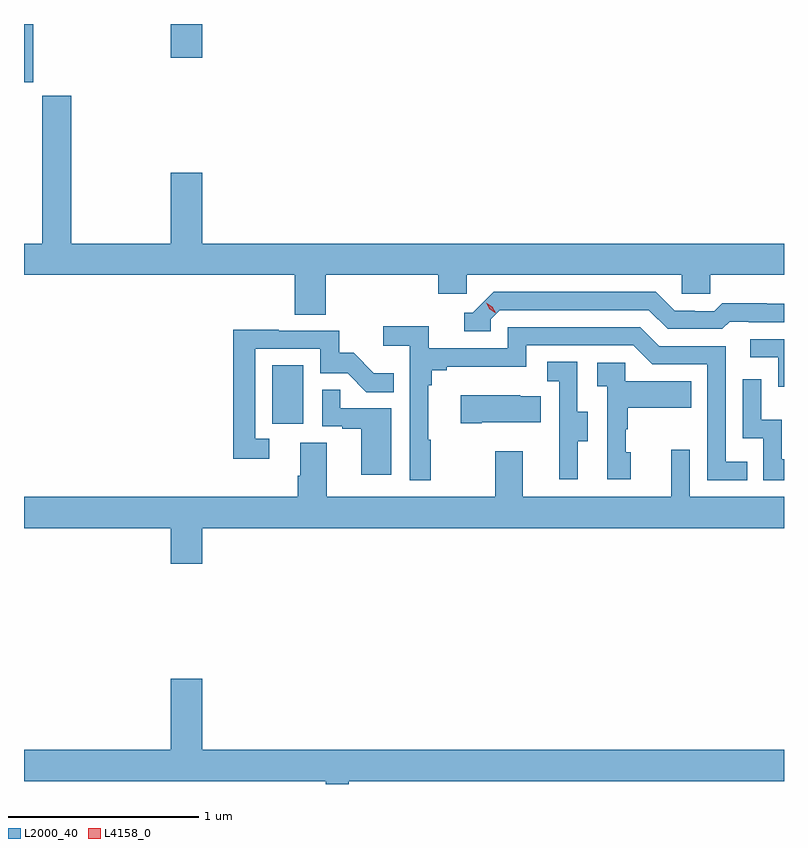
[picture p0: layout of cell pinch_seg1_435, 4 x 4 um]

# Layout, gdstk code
import gdstk
lib = gdstk.Library(unit=1e-6, precision=1e-09)
def R(c, l, rs):  # rectangles x0, y0, x1, y1
    for r in rs: c.add(gdstk.rectangle(r[:2], r[2:], *l))
def P(c, l, *ps):  # polygons
    for p in ps: c.add(gdstk.Polygon(p, *l))
L2000_40 = (2000, 40)
L4158_0 = (4158, 0)

pinch_seg1_435 = lib.new_cell('pinch_seg1_435')
R(pinch_seg1_435, L2000_40, [(956.75,513.654,956.914,513.961), (955.443,515.451,955.492,515.757), (956.216,515.58,956.38,515.757)])
P(pinch_seg1_435, L2000_40, [(957.032,514.436),(957.623,514.436),(957.623,514.338),(957.774,514.338),(957.774,514.436),(958.905,514.436),(958.905,514.338),(959.055,514.338),(959.055,514.436),(959.443,514.436),(959.443,514.6),(956.38,514.6),(956.38,514.975),(956.216,514.975),(956.216,514.6),(955.691,514.6),(955.691,515.379),(955.538,515.379),(955.538,514.6),(955.443,514.6),(955.443,514.436),(956.867,514.436),(956.867,514.228),(957.032,514.228)],
  [(957.9,514.203),(957.948,514.251),(958.731,514.251),(958.83,514.152),(959.119,514.152),(959.158,514.191),(959.257,514.191),(959.257,514.188),(959.443,514.188),(959.443,514.285),(959.352,514.285),(959.352,514.288),(959.119,514.288),(959.077,514.245),(958.974,514.245),(958.974,514.248),(958.867,514.248),(958.768,514.347),(957.915,514.347),(957.804,514.236),(957.761,514.236),(957.761,514.14),(957.9,514.14)],
  [(957.583,513.569),(957.571,513.569),(957.571,513.857),(957.59,513.857),(957.59,513.934),(957.667,513.934),(957.667,513.953),(958.086,513.953),(958.086,514.065),(958.65,514.065),(958.749,513.966),(959.04,513.966),(959.04,513.357),(959.249,513.357),(959.249,513.453),(959.136,513.453),(959.136,514.062),(958.786,514.062),(958.687,514.161),(957.99,514.161),(957.99,514.05),(957.572,514.05),(957.572,514.166),(957.333,514.166),(957.333,514.064),(957.474,514.064),(957.474,513.357),(957.583,513.357)],
  [(956.734,513.573),(956.661,513.573),(956.661,514.047),(957.003,514.047),(957.003,513.918),(957.147,513.918),(957.245,513.82),(957.389,513.82),(957.389,513.919),(957.285,513.919),(957.178,514.026),(957.102,514.026),(957.102,514.143),(956.783,514.143),(956.783,514.148),(956.545,514.148),(956.545,513.468),(956.734,513.468)],
  [(959.443,514.098),(959.265,514.098),(959.265,514.002),(959.412,514.002),(959.412,513.849),(959.443,513.849)],
  [(958.357,513.562),(958.411,513.562),(958.411,513.717),(958.356,513.717),(958.356,513.98),(958.197,513.98),(958.197,513.877),(958.26,513.877),(958.26,513.573),(958.259,513.573),(958.259,513.36),(958.357,513.36)],
  [(958.636,513.504),(958.611,513.504),(958.611,513.623),(958.621,513.623),(958.621,513.737),(958.955,513.737),(958.955,513.877),(958.608,513.877),(958.608,513.975),(958.461,513.975),(958.461,513.851),(958.512,513.851),(958.512,513.36),(958.636,513.36)],
  [(959.443,513.466),(959.432,513.466),(959.432,513.674),(959.322,513.674),(959.322,513.886),(959.226,513.886),(959.226,513.576),(959.334,513.576),(959.334,513.357),(959.443,513.357)],
  [(957.376,513.735),(957.107,513.735),(957.107,513.833),(957.012,513.833),(957.012,513.639),(957.119,513.639),(957.119,513.627),(957.218,513.627),(957.218,513.384),(957.376,513.384)],
  [(957.853,513.662),(958.163,513.662),(958.163,513.799),(958.055,513.799),(958.055,513.802),(957.741,513.802),(957.741,513.655),(957.853,513.655)],
  [(956.38,513.104),(959.443,513.104),(959.443,513.268),(958.947,513.268),(958.947,513.517),(958.85,513.517),(958.85,513.268),(958.069,513.268),(958.069,513.508),(957.922,513.508),(957.922,513.268),(957.037,513.268),(957.037,513.554),(956.897,513.554),(956.897,513.38),(956.885,513.38),(956.885,513.268),(955.443,513.268),(955.443,513.104),(956.216,513.104),(956.216,512.916),(956.38,512.916)],
  [(957.151,511.772),(959.443,511.772),(959.443,511.936),(956.38,511.936),(956.38,512.311),(956.216,512.311),(956.216,511.936),(955.443,511.936),(955.443,511.772),(957.03,511.772),(957.03,511.757),(957.151,511.757)])
P(pinch_seg1_435, L4158_0, [(957.924,514.237),(957.893,514.257),(957.877,514.289),(957.877,514.289),(957.877,514.289),(957.908,514.27),(957.925,514.238),(957.925,514.237)])

lib.write_gds('pinch_seg1_435.gds')
